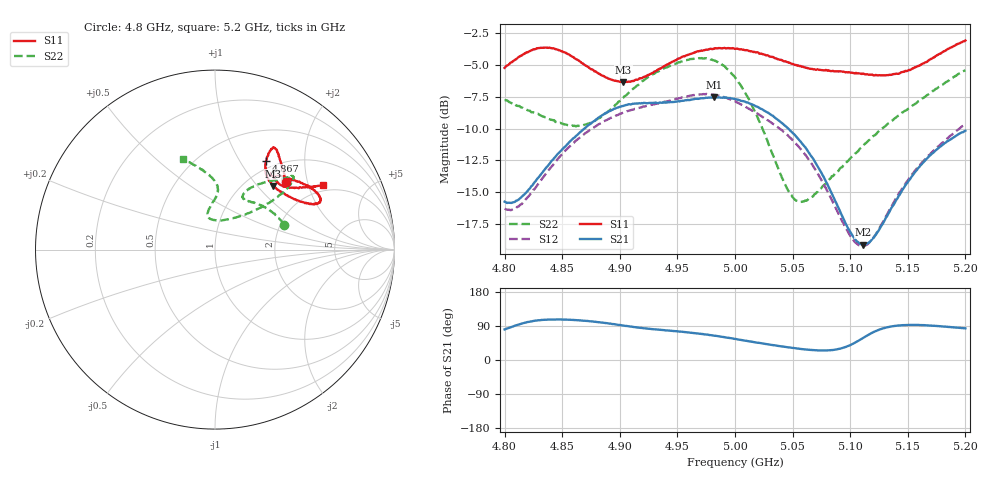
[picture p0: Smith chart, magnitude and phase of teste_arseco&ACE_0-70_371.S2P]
! Network Analyzer HP8722D
! Hewlett-Packard
! Data name: Linha & Wilkinson
! Saver's name: Rodrigo Anjos
! Comments: Teste da utilização de aquisição
! continua pelo VNA HP8722D
! Time and date: 8/5/2025 15:51
!  Frequency  S11  S21  S12  S22
# HZ  S  MA R 50
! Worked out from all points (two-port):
!   401 points, 4.8 GHz to 5.2 GHz, reference 50 ohm
!   highest |S21| = -7.56 dB at 4.982 GHz (marker M1); lowest = -19.1 dB at 5.111 GHz (marker M2)
!   |S21| within 3 dB of the highest: 4.862 GHz to 5.053 GHz (190.2 MHz wide, 3.84 % of centre); 5.192226 GHz to end of sweep
!   lowest |S11| = -6.4 dB at 4.903 GHz (marker M3), VSWR 2.85, Z = 66.3 + j61 ohm
!   |S11| at or under -10 dB: nowhere
!   |S22| runs from -15.8 to -4.5 dB; largest |S21 - S12| = 0.17
!   S11 on the Smith chart (normalised r, x): 4.8 GHz: 1.38, +1.49; 4.867 GHz: 0.89, +1.31; 5.2 GHz: 1.76, +2.49
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4.8e9  0.5468 43.6  0.1635 80.7  0.1536 45.4  0.408 20.0
4.813e9  0.606 52.6  0.1679 94.3  0.1581 59.2  0.3876 31.3
4.831e9  0.6549 58.8  0.2078 105.1  0.1969 71.0  0.3564 43.6
4.847e9  0.6409 60.8  0.2536 107.1  0.2426 73.8  0.3326 52.6
4.867e9  0.5712 60.1  0.3099 103.9  0.2957 73.4  0.3254 61.1
4.884e9  0.5115 56.4  0.3545 98.9  0.3322 71.7  0.3519 62.7
4.903e9  0.4811 47.4  0.3878 91.0  0.3647 69.6  0.4176 58.1
4.934e9  0.5414 30.1  0.3987 79.7  0.3983 65.7  0.5313 47.2
4.956e9  0.6064 24.5  0.4068 73.9  0.4215 61.4  0.5828 44.3
4.982e9  0.651 25.3  0.4189 64.1  0.4283 51.8  0.5847 42.0
5e9  0.6487 29.0  0.4133 55.6  0.4046 44.5  0.5023 40.1
5.017e9  0.6318 33.6  0.3895 47.1  0.3669 39.4  0.3705 41.6
5.048e9  0.571 44.0  0.3102 32.9  0.2904 31.8  0.1747 71.3
5.056e9  0.5551 47.0  0.2841 29.7  0.2661 30.2  0.1642 84.1
5.067e9  0.5414 50.4  0.2439 26.3  0.2288 29.0  0.1708 97.6
5.082e9  0.5328 53.2  0.1842 25.7  0.1734 31.7  0.2 102.1
5.099e9  0.5259 52.9  0.1267 37.9  0.1223 47.0  0.2385 96.7
5.111e9  0.5193 50.7  0.1107 57.8  0.1094 68.5  0.2704 91.8
5.12e9  0.5119 48.3  0.1178 73.1  0.1175 84.7  0.2956 88.8
5.134e9  0.5134 44.5  0.1489 87.6  0.1514 100.0  0.3333 87.1
5.165e9  0.5738 36.9  0.2369 91.7  0.2396 108.0  0.4212 95.2
5.2e9  0.7002 31.0  0.3101 83.5  0.3306 108.1  0.5354 109.2
